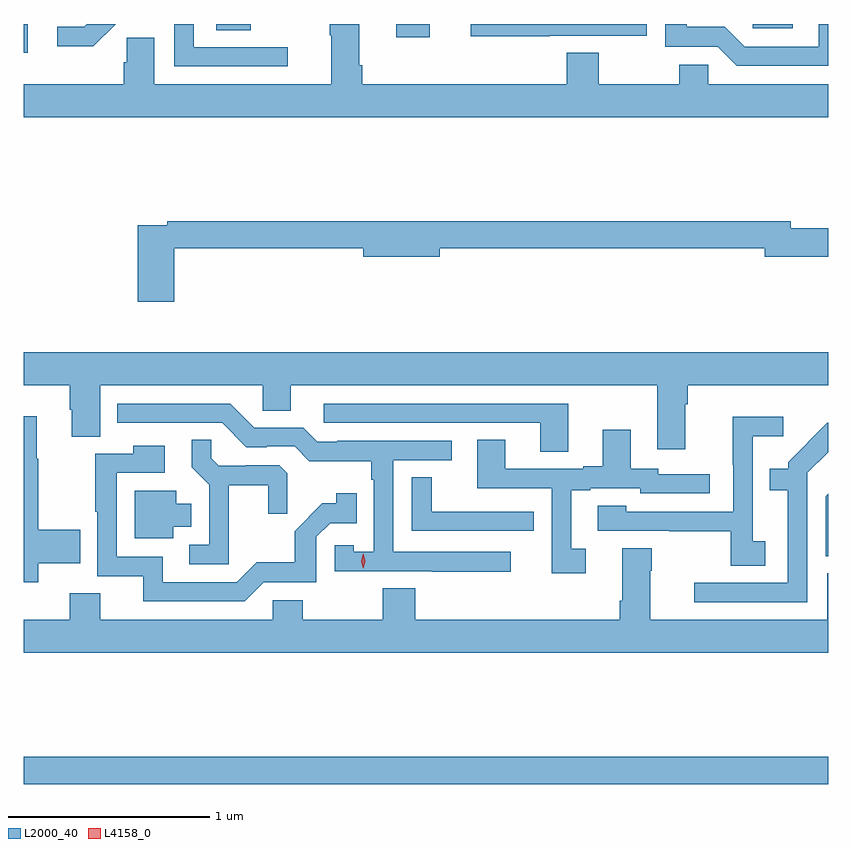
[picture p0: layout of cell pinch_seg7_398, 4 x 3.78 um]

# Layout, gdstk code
import gdstk
lib = gdstk.Library(unit=1e-6, precision=1e-09)
def R(c, l, rs):  # rectangles x0, y0, x1, y1
    for r in rs: c.add(gdstk.rectangle(r[:2], r[2:], *l))
def P(c, l, *ps):  # polygons
    for p in ps: c.add(gdstk.Polygon(p, *l))
L2000_40 = (2000, 40)
L4158_0 = (4158, 0)

pinch_seg7_398 = lib.new_cell('pinch_seg7_398')
R(pinch_seg7_398, L2000_40, [(542.388,1007.956,546.388,1008.092), (542.388,1011.594,542.407,1011.736), (544.239,1011.669,544.407,1011.736), (543.345,1011.706,543.517,1011.736), (546.014,1011.714,546.211,1011.736)])
P(pinch_seg7_398, L2000_40, [(542.845,1011.736),(542.701,1011.736),(542.688,1011.723),(542.553,1011.723),(542.553,1011.626),(542.734,1011.626)],
  [(543.7,1011.621),(543.232,1011.621),(543.232,1011.736),(543.135,1011.736),(543.135,1011.525),(543.7,1011.525)],
  [(546.388,1011.736),(546.341,1011.736),(546.341,1011.624),(545.973,1011.624),(545.875,1011.723),(545.686,1011.723),(545.686,1011.736),(545.577,1011.736),(545.577,1011.624),(545.838,1011.624),(545.934,1011.528),(546.388,1011.528)],
  [(545.003,1011.678),(545.487,1011.678),(545.487,1011.736),(544.611,1011.736),(544.611,1011.676),(545.003,1011.676)],
  [(543.91,1011.736),(543.91,1011.68),(543.917,1011.68),(543.917,1011.436),(543.037,1011.436),(543.037,1011.668),(542.899,1011.668),(542.899,1011.546),(542.885,1011.546),(542.885,1011.436),(542.388,1011.436),(542.388,1011.272),(546.388,1011.272),(546.388,1011.436),(545.793,1011.436),(545.793,1011.534),(545.647,1011.534),(545.647,1011.436),(545.247,1011.436),(545.247,1011.593),(545.087,1011.593),(545.087,1011.436),(544.07,1011.436),(544.07,1011.532),(544.057,1011.532),(544.057,1011.736)],
  [(543.137,1010.62),(544.076,1010.62),(544.076,1010.578),(544.456,1010.578),(544.456,1010.62),(546.074,1010.62),(546.074,1010.578),(546.388,1010.578),(546.388,1010.72),(546.202,1010.72),(546.202,1010.756),(543.1,1010.756),(543.1,1010.736),(542.954,1010.736),(542.954,1010.355),(543.137,1010.355)],
  [(542.388,1009.94),(542.615,1009.94),(542.615,1009.818),(542.627,1009.818),(542.627,1009.684),(542.767,1009.684),(542.767,1009.94),(543.576,1009.94),(543.576,1009.813),(543.715,1009.813),(543.715,1009.94),(545.537,1009.94),(545.537,1009.62),(545.677,1009.62),(545.677,1009.844),(545.69,1009.844),(545.69,1009.94),(546.388,1009.94),(546.388,1010.104),(542.388,1010.104)],
  [(544.81,1009.11),(544.224,1009.11),(544.224,1009.566),(544.516,1009.566),(544.516,1009.662),(543.946,1009.662),(543.946,1009.659),(543.846,1009.659),(543.777,1009.728),(543.534,1009.728),(543.414,1009.848),(542.852,1009.848),(542.852,1009.752),(543.375,1009.752),(543.495,1009.632),(543.596,1009.632),(543.596,1009.635),(543.735,1009.635),(543.808,1009.562),(544.116,1009.562),(544.116,1009.469),(544.128,1009.469),(544.128,1009.111),(544.029,1009.111),(544.029,1009.143),(543.933,1009.143),(543.933,1009.014),(544.417,1009.014),(544.417,1009.012),(544.81,1009.012)],
  [(545.095,1009.848),(543.879,1009.848),(543.879,1009.752),(544.955,1009.752),(544.955,1009.609),(545.095,1009.609)],
  [(542.46,1009.055),(542.669,1009.055),(542.669,1009.221),(542.46,1009.221),(542.46,1009.573),(542.452,1009.573),(542.452,1009.786),(542.388,1009.786),(542.388,1008.96),(542.46,1008.96)],
  [(546.076,1009.164),(546.012,1009.164),(546.012,1009.685),(546.166,1009.685),(546.166,1009.783),(545.914,1009.783),(545.914,1009.544),(545.916,1009.544),(545.916,1009.311),(545.385,1009.311),(545.385,1009.339),(545.241,1009.339),(545.241,1009.215),(545.599,1009.215),(545.599,1009.213),(545.904,1009.213),(545.904,1009.042),(546.076,1009.042)],
  [(546.285,1009.503),(546.388,1009.606),(546.388,1009.752),(546.384,1009.752),(546.189,1009.557),(546.189,1009.525),(546.097,1009.525),(546.097,1009.416),(546.188,1009.416),(546.188,1008.957),(545.721,1008.957),(545.721,1008.861),(546.285,1008.861)],
  [(545.182,1009.125),(545.11,1009.125),(545.11,1009.416),(545.206,1009.416),(545.206,1009.428),(545.454,1009.428),(545.454,1009.401),(545.8,1009.401),(545.8,1009.497),(545.544,1009.497),(545.544,1009.524),(545.407,1009.524),(545.407,1009.717),(545.267,1009.717),(545.267,1009.537),(545.171,1009.537),(545.171,1009.524),(544.783,1009.524),(544.783,1009.667),(544.643,1009.667),(544.643,1009.428),(545.013,1009.428),(545.013,1009.005),(545.182,1009.005)],
  [(543.407,1009.442),(543.604,1009.442),(543.604,1009.299),(543.698,1009.299),(543.698,1009.501),(543.657,1009.542),(543.492,1009.542),(543.492,1009.539),(543.358,1009.539),(543.321,1009.576),(543.321,1009.667),(543.223,1009.667),(543.223,1009.531),(543.309,1009.445),(543.309,1009.146),(543.21,1009.146),(543.21,1009.05),(543.407,1009.05)],
  [(543.582,1008.96),(543.843,1008.96),(543.843,1009.185),(543.912,1009.254),(544.043,1009.254),(544.043,1009.402),(543.942,1009.402),(543.942,1009.352),(543.872,1009.352),(543.735,1009.214),(543.735,1009.059),(543.546,1009.059),(543.447,1008.96),(543.079,1008.96),(543.079,1009.086),(542.85,1009.086),(542.85,1009.503),(543.088,1009.503),(543.088,1009.639),(542.932,1009.639),(542.932,1009.599),(542.742,1009.599),(542.742,1009.309),(542.754,1009.309),(542.754,1008.99),(542.981,1008.99),(542.981,1008.864),(543.486,1008.864)],
  [(544.924,1009.31),(544.811,1009.31),(544.811,1009.311),(544.416,1009.311),(544.416,1009.481),(544.317,1009.481),(544.317,1009.215),(544.924,1009.215)],
  [(543.13,1009.235),(543.22,1009.235),(543.22,1009.351),(543.145,1009.351),(543.145,1009.414),(542.939,1009.414),(542.939,1009.178),(543.13,1009.178)],
  [(546.388,1009.4),(546.375,1009.387),(546.375,1009.089),(546.388,1009.089)],
  [(542.615,1008.905),(542.615,1008.772),(542.388,1008.772),(542.388,1008.608),(546.388,1008.608),(546.388,1009.004),(546.383,1009.004),(546.383,1008.772),(545.503,1008.772),(545.503,1009.016),(545.511,1009.016),(545.511,1009.129),(545.363,1009.129),(545.363,1008.868),(545.351,1008.868),(545.351,1008.772),(544.334,1008.772),(544.334,1008.929),(544.174,1008.929),(544.174,1008.772),(543.774,1008.772),(543.774,1008.87),(543.627,1008.87),(543.627,1008.772),(542.767,1008.772),(542.767,1008.905)])
P(pinch_seg7_398, L4158_0, [(544.077,1009.029),(544.077,1009.029),(544.067,1009.065),(544.077,1009.101),(544.077,1009.101),(544.077,1009.101),(544.087,1009.065),(544.077,1009.029)])

lib.write_gds('pinch_seg7_398.gds')
